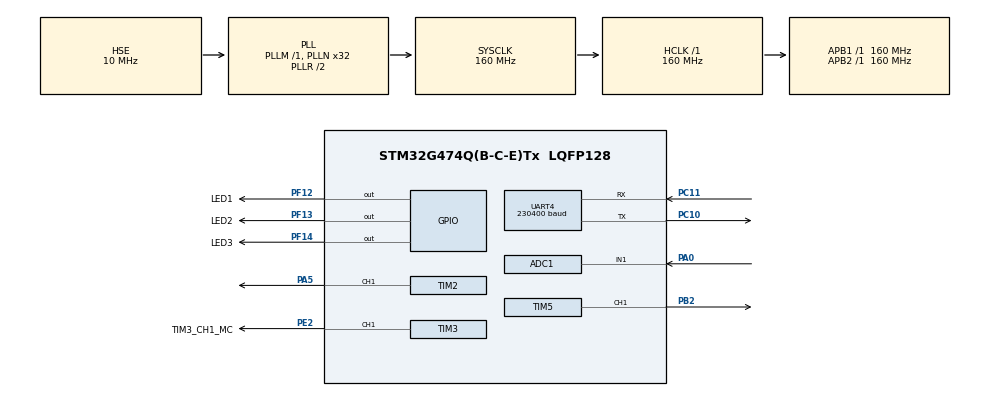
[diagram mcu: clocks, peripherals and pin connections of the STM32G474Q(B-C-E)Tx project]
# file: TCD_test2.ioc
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ADC1.Channel-0\#ChannelRegularConversion=ADC_CHANNEL_1
ADC1.ExternalTrigConv=ADC_EXTERNALTRIG_T6_TRGO
ADC1.NbrOfConversionFlag=1
ADC1.OffsetNumber-0\#ChannelRegularConversion=ADC_OFFSET_NONE
ADC1.Rank-0\#ChannelRegularConversion=1
ADC1.SamplingTime-0\#ChannelRegularConversion=ADC_SAMPLETIME_2CYCLES_5
ADC1.master=1
Dma.ADC1.0.Direction=DMA_PERIPH_TO_MEMORY
Dma.ADC1.0.EventEnable=DISABLE
Dma.ADC1.0.Instance=DMA1_Channel1
Dma.ADC1.0.MemDataAlignment=DMA_MDATAALIGN_HALFWORD
Dma.ADC1.0.MemInc=DMA_MINC_ENABLE
Dma.ADC1.0.Mode=DMA_NORMAL
Dma.ADC1.0.PeriphDataAlignment=DMA_PDATAALIGN_HALFWORD
Dma.ADC1.0.PeriphInc=DMA_PINC_DISABLE
Dma.ADC1.0.Polarity=HAL_DMAMUX_REQ_GEN_RISING
Dma.ADC1.0.Priority=DMA_PRIORITY_LOW
Dma.ADC1.0.RequestNumber=1
Dma.ADC1.0.SignalID=NONE
Dma.ADC1.0.SyncEnable=ENABLE
Dma.ADC1.0.SyncPolarity=HAL_DMAMUX_SYNC_RISING
Dma.ADC1.0.SyncRequestNumber=1
Dma.ADC1.0.SyncSignalID=NONE
Dma.Request0=ADC1
Dma.Request1=UART4_TX
Dma.UART4_TX.1.Direction=DMA_MEMORY_TO_PERIPH
Dma.UART4_TX.1.EventEnable=DISABLE
Dma.UART4_TX.1.Instance=DMA1_Channel2
Dma.UART4_TX.1.MemDataAlignment=DMA_MDATAALIGN_BYTE
Dma.UART4_TX.1.MemInc=DMA_MINC_ENABLE
Dma.UART4_TX.1.Mode=DMA_NORMAL
Dma.UART4_TX.1.PeriphDataAlignment=DMA_PDATAALIGN_BYTE
Dma.UART4_TX.1.PeriphInc=DMA_PINC_DISABLE
Dma.UART4_TX.1.Polarity=HAL_DMAMUX_REQ_GEN_RISING
Dma.UART4_TX.1.Priority=DMA_PRIORITY_MEDIUM
Dma.UART4_TX.1.RequestNumber=1
Dma.UART4_TX.1.SignalID=NONE
Dma.UART4_TX.1.SyncEnable=DISABLE
Dma.UART4_TX.1.SyncPolarity=HAL_DMAMUX_SYNC_NO_EVENT
Dma.UART4_TX.1.SyncRequestNumber=1
Dma.UART4_TX.1.SyncSignalID=NONE
FREERTOS.Tasks01=defaultTask,0,512,StartDefaultTask,Default,NULL,Dynamic,NULL,NULL
FREERTOS.configENABLE_FPU=1
FREERTOS.configMAX_TASK_NAME_LEN=32
FREERTOS.configMINIMAL_STACK_SIZE=512
FREERTOS.configTOTAL_HEAP_SIZE=51200
FREERTOS.configUSE_TIMERS=1
Mcu.Family=STM32G4
Mcu.Name=STM32G474Q(B-C-E)Tx
Mcu.Package=LQFP128
NVIC.ADC1_2_IRQn=true\:5\:0\:false\:false\:true\:true\:true\:true
NVIC.DMA1_Channel1_IRQn=true\:5\:0\:false\:false\:true\:true\:false\:true
NVIC.DMA1_Channel2_IRQn=true\:5\:0\:false\:false\:true\:true\:false\:true
NVIC.DMAMUX_OVR_IRQn=true\:5\:0\:false\:false\:true\:false\:false\:true
NVIC.PriorityGroup=NVIC_PRIORITYGROUP_4
NVIC.TIM1_UP_TIM16_IRQn=true\:0\:0\:false\:false\:true\:false\:false\:true
NVIC.TIM2_IRQn=true\:5\:0\:false\:false\:true\:true\:true\:true
NVIC.TIM6_DAC_IRQn=true\:5\:0\:false\:false\:true\:true\:true\:true
NVIC.TimeBase=TIM1_UP_TIM16_IRQn
NVIC.TimeBaseIP=TIM1
NVIC.UART4_IRQn=true\:5\:0\:false\:false\:true\:true\:true\:true
PA0.Mode=IN1-Single-Ended
PA0.Signal=ADC1_IN1
PA13.Mode=Serial_Wire
PA13.Signal=SYS_JTMS-SWDIO
PA14.Mode=Serial_Wire
PA14.Signal=SYS_JTCK-SWCLK
PA5.Signal=S_TIM2_CH1
PB2.Signal=S_TIM5_CH1
PC10.Mode=Asynchronous
PC10.Signal=UART4_TX
PC11.Mode=Asynchronous
PC11.Signal=UART4_RX
PE2.GPIO_Label=TIM3_CH1_MC
PE2.Signal=S_TIM3_CH1
PF0-OSC_IN.Mode=HSE-External-Oscillator
PF0-OSC_IN.Signal=RCC_OSC_IN
PF1-OSC_OUT.Mode=HSE-External-Oscillator
PF1-OSC_OUT.Signal=RCC_OSC_OUT
PF12.GPIO_Label=LED1
PF12.Signal=GPIO_Output
PF13.GPIO_Label=LED2
PF13.Signal=GPIO_Output
PF14.GPIO_Label=LED3
PF14.Signal=GPIO_Output
ProjectManager.HeapSize=0x200
ProjectManager.StackSize=0x400
ProjectManager.TargetToolchain=STM32CubeIDE
RCC.ADC12Freq_Value=160000000
RCC.ADC345Freq_Value=160000000
RCC.AHBFreq_Value=160000000
RCC.APB1Freq_Value=160000000
RCC.APB1TimFreq_Value=160000000
RCC.APB2Freq_Value=160000000
RCC.APB2TimFreq_Value=160000000
RCC.CortexFreq_Value=160000000
RCC.EXTERNAL_CLOCK_VALUE=12288000
RCC.HCLKFreq_Value=160000000
RCC.HSE_VALUE=10000000
RCC.HSI48_VALUE=48000000
RCC.HSI_VALUE=16000000
RCC.LSE_VALUE=32768
RCC.PLLN=32
RCC.PLLSourceVirtual=RCC_PLLSOURCE_HSE
RCC.SYSCLKFreq_VALUE=160000000
RCC.SYSCLKSource=RCC_SYSCLKSOURCE_PLLCLK
RCC.USBFreq_Value=160000000
RCC.VCOOutputFreq_Value=320000000
SH.S_TIM2_CH1.0=TIM2_CH1,PWM Generation1 CH1
SH.S_TIM3_CH1.0=TIM3_CH1,Output Compare1 CH1
SH.S_TIM5_CH1.0=TIM5_CH1,PWM Generation1 CH1
TIM2.AutoReloadPreload=TIM_AUTORELOAD_PRELOAD_DISABLE
TIM2.Channel-PWM\ Generation1\ CH1=TIM_CHANNEL_1
TIM2.OCMode_PWM-PWM\ Generation1\ CH1=TIM_OCMODE_PWM2
TIM2.OCPolarity_1=TIM_OCPOLARITY_LOW
TIM2.PeriodNoDither=100
TIM2.Prescaler=79
TIM2.PulseNoDither_1=20
TIM2.TIM_MasterOutputTrigger=TIM_TRGO_UPDATE
TIM3.Channel-Output\ Compare1\ CH1=TIM_CHANNEL_1
TIM3.OCMode_1=TIM_OCMODE_TOGGLE
TIM3.PeriodNoDither=79
TIM3.TIM_MasterOutputTrigger=TIM_TRGO_UPDATE
TIM5.Channel-PWM\ Generation1\ CH1=TIM_CHANNEL_1
TIM5.PeriodNoDither=100
TIM5.Prescaler=79
TIM5.TIM_MasterOutputTrigger=TIM_TRGO_UPDATE
TIM6.PeriodNoDither=639
TIM6.TIM_MasterOutputTrigger=TIM_TRGO_UPDATE
UART4.BaudRate=230400
UART4.FIFOMode=FIFOMODE_ENABLE
VP_FREERTOS_VS_CMSIS_V1.Mode=CMSIS_V1
VP_SYS_VS_DBSignals.Mode=DisableDeadBatterySignals
VP_SYS_VS_tim1.Mode=TIM1
VP_TIM2_VS_ClockSourceINT.Mode=Internal
VP_TIM3_VS_ClockSourceINT.Mode=Internal
VP_TIM5_VS_ClockSourceINT.Mode=Internal
VP_TIM6_VS_ClockSourceINT.Mode=Enable_Timer
board=custom

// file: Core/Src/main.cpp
/* USER CODE BEGIN Header */
/**
  ******************************************************************************
  * @file           : main.c
  * @brief          : Main program body
  ******************************************************************************
  * @attention
  *
  * <h2><center>&copy; Copyright (c) 2021 STMicroelectronics.
  * All rights reserved.</center></h2>
  *
  * This software component is licensed by ST under BSD 3-Clause license,
  * the "License"; You may not use this file except in compliance with the
  * License. You may obtain a copy of the License at:
  *                        opensource.org/licenses/BSD-3-Clause
  *
  ******************************************************************************
  */
/* USER CODE END Header */
#include "main.h"
#include "cmsis_os.h"
#include "adc.h"
#include "dma.h"
#include "tim.h"
#include "usart.h"
#include "gpio.h"

/* USER CODE BEGIN Includes */
#include "observable.h"
#include "uart_wrapper.h"
#include "FreeRTOS.h"
#include "FreeRTOSConfig.h"
#include "app_freertos.c"
#include "tcd1304_driver.h"
/* USER CODE END Includes */

/* USER CODE BEGIN PV */
uint8_t some_shit;
UART_Wrapper * uartWrap;
TCD1304Driver * tcdDrv;

uint16_t * tcdBuf;
/* USER CODE END PV */

void SystemClock_Config(void);
void MX_FREERTOS_Init(void);

/* USER CODE BEGIN 0 */
void * operator new( size_t size )
{
    return pvPortMalloc(size);
}

void * operator new[]( size_t size )
{
    return pvPortMalloc( size );
}

void operator delete( void * ptr )
{
    vPortFree( ptr );
}

void operator delete[]( void * ptr )
{
    vPortFree( ptr );
}

void led2(Observable * o, void * d) {
	HAL_GPIO_TogglePin(LED2_GPIO_Port, LED2_Pin);
	char * s = (char *)d;
	uartWrap->sendString((const char *)s);
	delete s;
}
/* USER CODE END 0 */

int main(void)
{

  /* MCU Configuration--------------------------------------------------------*/

  /* Reset of all peripherals, Initializes the Flash interface and the Systick. */
  HAL_Init();

  /* Configure the system clock */
  SystemClock_Config();

  /* Initialize all configured peripherals */
  MX_GPIO_Init();
  MX_DMA_Init();
  MX_UART4_Init();
  MX_TIM3_Init();
  MX_TIM2_Init();
  MX_TIM5_Init();
  MX_ADC1_Init();
  MX_TIM6_Init();
  /* USER CODE BEGIN 2 */
  int subsArraySize = 16;

  void(**uartSubsArray)(Observable*, void*) =
		  (void(**)(Observable*, void*))pvPortMalloc(subsArraySize * sizeof(uartSubsArray));

  uint8_t * uartRxBuf = new uint8_t[1024];
  uint32_t uartRxBufSize = 1024;
  uartWrap = new UART_Wrapper(&huart4, uartRxBuf, uartRxBufSize, uartSubsArray, subsArraySize);
  uartWrap->subscribe(&led2);
  uartWrap->startRx();

  void(**tcdSubsArray)(Observable*, void*) =
		  (void(**)(Observable*, void*))pvPortMalloc(subsArraySize * sizeof(tcdSubsArray));

  tcdBuf = new uint16_t[3694];
  tcdDrv = new TCD1304Driver(&htim3, &htim2, &htim5, &htim6, tcdBuf, tcdSubsArray, subsArraySize, &hadc1);
  tcdDrv->initialize();

//  HAL_TIM_OC_Init(&htim2);
//  HAL_TIM_OC_Start(&htim2, TIM_CHANNEL_1);
  /* USER CODE END 2 */

  /* Call init function for freertos objects (in freertos.c) */
  MX_FREERTOS_Init();
  /* Start scheduler */
  osKernelStart();

  /* We should never get here as control is now taken by the scheduler */
  /* Infinite loop */
  while (1)
  {

  }
}

void SystemClock_Config(void)
{
  RCC_OscInitTypeDef RCC_OscInitStruct = {0};
  RCC_ClkInitTypeDef RCC_ClkInitStruct = {0};
  RCC_PeriphCLKInitTypeDef PeriphClkInit = {0};

  /** Configure the main internal regulator output voltage
  */
  HAL_PWREx_ControlVoltageScaling(PWR_REGULATOR_VOLTAGE_SCALE1_BOOST);
  /** Initializes the RCC Oscillators according to the specified parameters
  * in the RCC_OscInitTypeDef structure.
  */
  RCC_OscInitStruct.OscillatorType = RCC_OSCILLATORTYPE_HSE;
  RCC_OscInitStruct.HSEState = RCC_HSE_ON;
  RCC_OscInitStruct.PLL.PLLState = RCC_PLL_ON;
  RCC_OscInitStruct.PLL.PLLSource = RCC_PLLSOURCE_HSE;
  RCC_OscInitStruct.PLL.PLLM = RCC_PLLM_DIV1;
  RCC_OscInitStruct.PLL.PLLN = 32;
  RCC_OscInitStruct.PLL.PLLP = RCC_PLLP_DIV2;
  RCC_OscInitStruct.PLL.PLLQ = RCC_PLLQ_DIV2;
  RCC_OscInitStruct.PLL.PLLR = RCC_PLLR_DIV2;
  if (HAL_RCC_OscConfig(&RCC_OscInitStruct) != HAL_OK)
  {
    Error_Handler();
  }
  /** Initializes the CPU, AHB and APB buses clocks
  */
  RCC_ClkInitStruct.ClockType = RCC_CLOCKTYPE_HCLK|RCC_CLOCKTYPE_SYSCLK
                              |RCC_CLOCKTYPE_PCLK1|RCC_CLOCKTYPE_PCLK2;
  RCC_ClkInitStruct.SYSCLKSource = RCC_SYSCLKSOURCE_PLLCLK;
  RCC_ClkInitStruct.AHBCLKDivider = RCC_SYSCLK_DIV1;
  RCC_ClkInitStruct.APB1CLKDivider = RCC_HCLK_DIV1;
  RCC_ClkInitStruct.APB2CLKDivider = RCC_HCLK_DIV1;

  if (HAL_RCC_ClockConfig(&RCC_ClkInitStruct, FLASH_LATENCY_4) != HAL_OK)
  {
    Error_Handler();
  }
  /** Initializes the peripherals clocks
  */
  PeriphClkInit.PeriphClockSelection = RCC_PERIPHCLK_UART4|RCC_PERIPHCLK_ADC12;
  PeriphClkInit.Uart4ClockSelection = RCC_UART4CLKSOURCE_PCLK1;
  PeriphClkInit.Adc12ClockSelection = RCC_ADC12CLKSOURCE_SYSCLK;
  if (HAL_RCCEx_PeriphCLKConfig(&PeriphClkInit) != HAL_OK)
  {
    Error_Handler();
  }
}

/* USER CODE BEGIN 4 */

void HAL_UART_RxCpltCallback(UART_HandleTypeDef *huart) {

	uartWrap->rxCallback();
}

void HAL_TIM_PWM_PulseFinishedCallback(TIM_HandleTypeDef *htim) {
	tcdDrv->ICGPulseCallback();
}

void HAL_ADC_ConvCpltCallback(ADC_HandleTypeDef *hadc) {
	HAL_GPIO_TogglePin(LED2_GPIO_Port, LED2_Pin);
	uartWrap->sendLargeBufferDMA((uint8_t *)tcdBuf, 3694 * 2);
}

/* USER CODE END 4 */

 /**
  * @brief  Period elapsed callback in non blocking mode
  * @note   This function is called  when TIM1 interrupt took place, inside
  * HAL_TIM_IRQHandler(). It makes a direct call to HAL_IncTick() to increment
  * a global variable "uwTick" used as application time base.
  * @param  htim : TIM handle
  * @retval None
  */
void HAL_TIM_PeriodElapsedCallback(TIM_HandleTypeDef *htim)
{
  if (htim->Instance == TIM1) {
    HAL_IncTick();
  }
}

void Error_Handler(void)
{
  __disable_irq();
  while (1)
  {
  }
}

/************************ (C) COPYRIGHT STMicroelectronics *****END OF FILE****/

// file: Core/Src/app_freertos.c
/* USER CODE BEGIN Header */
/**
  ******************************************************************************
  * File Name          : app_freertos.c
  * Description        : Code for freertos applications
  ******************************************************************************
  * @attention
  *
  * <h2><center>&copy; Copyright (c) 2021 STMicroelectronics.
  * All rights reserved.</center></h2>
  *
  * This software component is licensed by ST under Ultimate Liberty license
  * SLA0044, the "License"; You may not use this file except in compliance with
  * the License. You may obtain a copy of the License at:
  *                             www.st.com/SLA0044
  *
  ******************************************************************************
  */
/* USER CODE END Header */

#include "FreeRTOS.h"
#include "task.h"
#include "main.h"
#include "cmsis_os.h"

/* USER CODE BEGIN Includes */
#include "stm32g4xx_hal.h"
#include "gpio.h"
/* USER CODE END Includes */

osThreadId defaultTaskHandle;

void StartDefaultTask(void const * argument);

void MX_FREERTOS_Init(void); /* (MISRA C 2004 rule 8.1) */

void MX_FREERTOS_Init(void) {

  /* Create the thread(s) */
  /* definition and creation of defaultTask */
  osThreadDef(defaultTask, StartDefaultTask, osPriorityNormal, 0, 512);
  defaultTaskHandle = osThreadCreate(osThread(defaultTask), NULL);

}

void StartDefaultTask(void const * argument)
{
  /* USER CODE BEGIN StartDefaultTask */
  /* Infinite loop */
  for(;;)
  {
	  HAL_GPIO_TogglePin(LED1_GPIO_Port, LED1_Pin);
	  osDelay(500);
  }
  /* USER CODE END StartDefaultTask */
}

/************************ (C) COPYRIGHT STMicroelectronics *****END OF FILE****/
